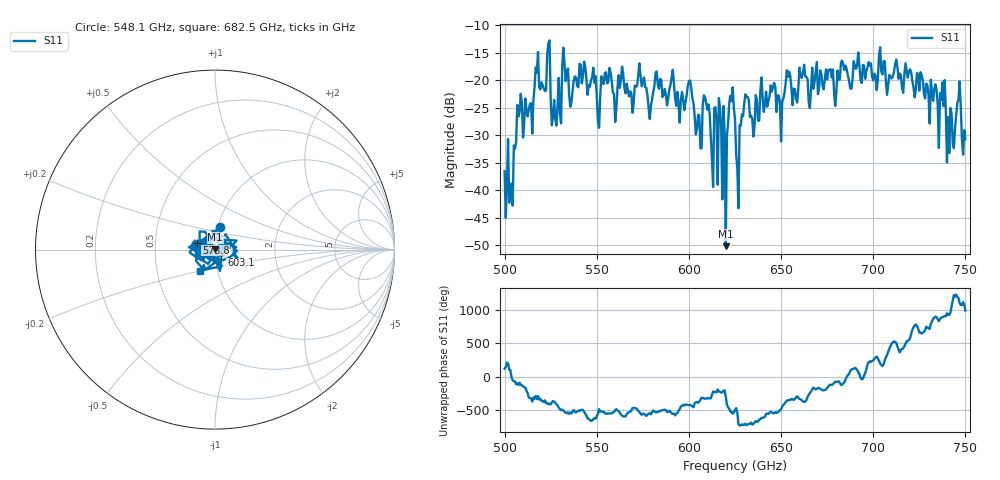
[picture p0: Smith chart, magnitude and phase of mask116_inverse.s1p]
!Created with skrf (http://scikit-rf.org).
# GHz S MA R 50.0
!freq magS11 angS11
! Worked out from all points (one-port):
!   401 points, 500 GHz to 750 GHz, reference 50 ohm
!   lowest |S11| = -50.2 dB at 620 GHz (marker M1), VSWR 1.01, Z = 50.2 + j0.261 ohm
!   |S11| at or under -10 dB: start of sweep to end of sweep
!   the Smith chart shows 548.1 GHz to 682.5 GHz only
!   S11 on the Smith chart (normalised r, x): 548.1 GHz: 1.02, +0.26; 573.8 GHz: 0.81, +0.06; 603.1 GHz: 1.07, -0.07; 682.5 GHz: 0.82, -0.20
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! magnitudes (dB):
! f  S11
! 500 GHz  -36.5
! 503.8 GHz  -39.0
! 508.1 GHz  -25.7
! 513.8 GHz  -24.3
! 517.5 GHz  -18.6
! 523.8 GHz  -13.3
! 526.9 GHz  -23.6
! 531.2 GHz  -17.5
! 548.1 GHz  -17.7
! 562.5 GHz  -21.4
! 573.8 GHz  -19.2
! 593.8 GHz  -22.1
! 600.6 GHz  -20.1
! 603.1 GHz  -26.5
! 609.4 GHz  -24.3
! 620 GHz  -50.2
! 623.1 GHz  -23.8
! 625 GHz  -27.0
! 626.9 GHz  -43.3
! 631.2 GHz  -23.1
! 656.2 GHz  -24.6
! 682.5 GHz  -16.8
! 687.5 GHz  -21.5
! 718.8 GHz  -19.5
! 737.5 GHz  -20.4
! 742.5 GHz  -26.1
! 746.2 GHz  -23.6
! 750 GHz  -30.8
